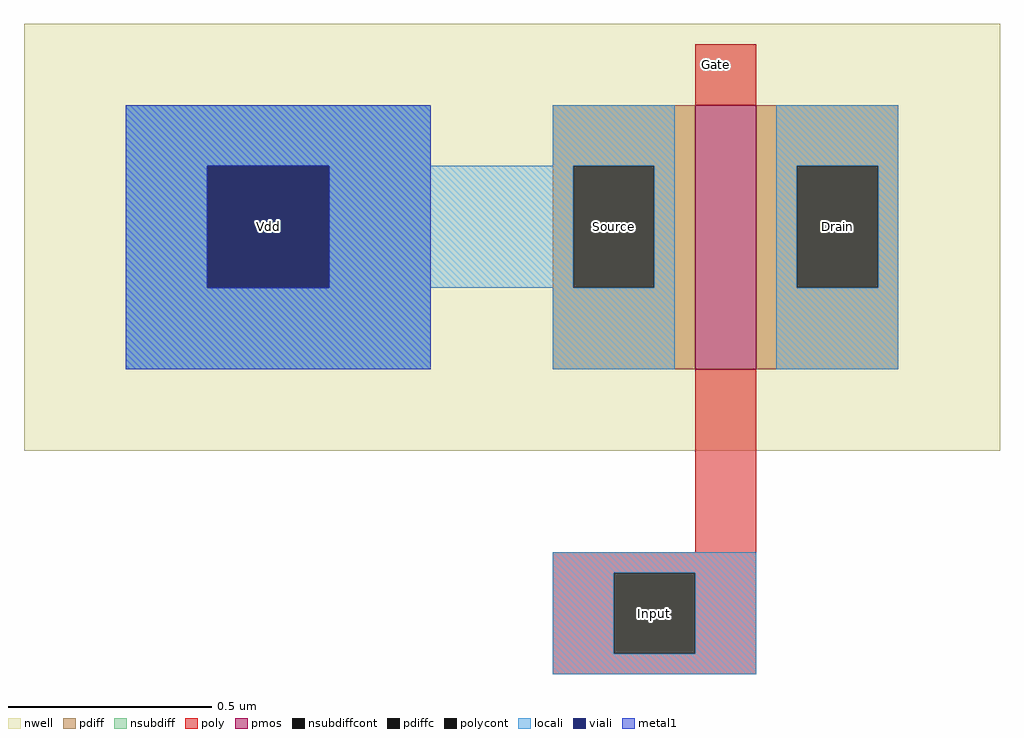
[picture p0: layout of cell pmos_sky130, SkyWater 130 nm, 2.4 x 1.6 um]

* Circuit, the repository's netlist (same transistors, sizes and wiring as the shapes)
* SPICE3 file created from pmos_sky130.ext - technology: sky130B

X0 Drain Input Vdd Vdd sky130_fd_pr__pfet_01v8 ad=0.2275 pd=2 as=0.2275 ps=2 w=0.65 l=0.15

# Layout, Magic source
magic
tech sky130B
<< nwell >>
rect -155 -45 85 60
<< pmos >>
rect 10 -25 25 40
<< pdiff >>
rect -25 25 10 40
rect -25 -5 -20 25
rect 0 -5 10 25
rect -25 -25 10 -5
rect 25 25 60 40
rect 25 -5 35 25
rect 55 -5 60 25
rect 25 -25 60 -5
<< pdiffc >>
rect -20 -5 0 25
rect 35 -5 55 25
<< nsubdiff >>
rect -130 25 -55 40
rect -130 -5 -110 25
rect -80 -5 -55 25
rect -130 -25 -55 -5
<< nsubdiffcont >>
rect -110 -5 -80 25
<< poly >>
rect 10 40 25 55
rect 10 -70 25 -25
rect -25 -75 25 -70
rect -25 -95 -10 -75
rect 10 -95 25 -75
rect -25 -100 25 -95
<< polycont >>
rect -10 -95 10 -75
<< locali >>
rect -130 25 -55 40
rect -25 25 5 40
rect -130 -5 -110 25
rect -80 -5 -20 25
rect 0 -5 5 25
rect -130 -25 -55 -5
rect -25 -25 5 -5
rect 30 25 60 40
rect 30 -5 35 25
rect 55 -5 60 25
rect 30 -25 60 -5
rect -25 -75 25 -70
rect -25 -95 -10 -75
rect 10 -95 25 -75
rect -25 -100 25 -95
<< viali >>
rect -110 -5 -80 25
<< metal1 >>
rect -130 25 -55 40
rect -130 -5 -110 25
rect -80 -5 -55 25
rect -130 -25 -55 -5
<< labels >>
rlabel polycont -10 -95 10 -75 1 Input
rlabel nwell -110 -5 -80 25 1 Vdd
rlabel pdiffc -20 -5 0 25 1 Source
rlabel pdiffc 35 -5 55 25 1 Drain
rlabel poly 15 50 15 50 1 Gate
<< end >>
